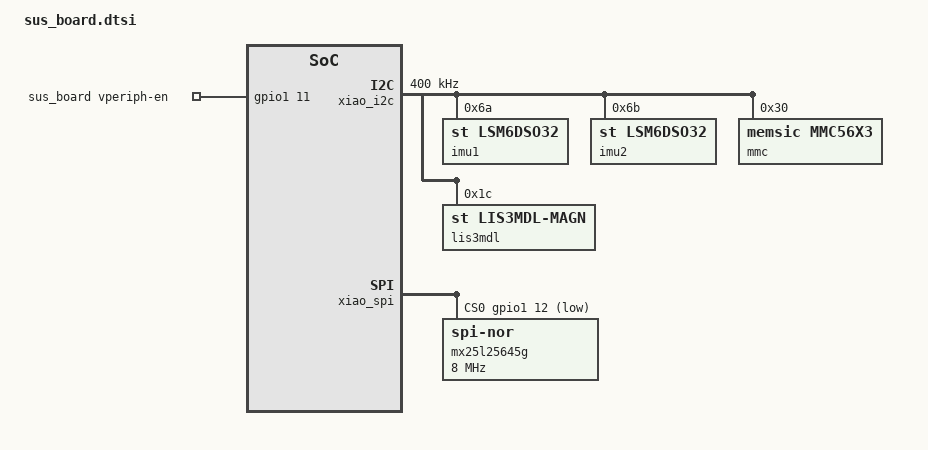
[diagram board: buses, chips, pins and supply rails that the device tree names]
/ {
	sus_board: sus-board {
		compatible = "zephyr,user";

		/* XIAO D6 = nRF P1.11. Use <&gpio0 29 GPIO_ACTIVE_HIGH> for D3. */
		vperiph-en-gpios = <&gpio1 11 GPIO_ACTIVE_HIGH>;

	};

	aliases {
		imu1 = &imu1;
		imu2 = &imu2;
		mmc = &mmc;
		lis3mdl = &lis3mdl;
	};
};

&xiao_i2c {
	status = "okay";
	clock-frequency = <I2C_BITRATE_FAST>;

	/*
	 * LSM6DSOX uses the LSM6DSO driver for its common accelerometer,
	 * gyroscope, and temperature register set.
	 */
	imu1: lsm6dso32@6a {
		compatible = "st,lsm6dso32";
		reg = <0x6a>;
		accel-range = <1>; /* +/-32 g on LSM6DSO32 */
		accel-odr = <5>;   /* 208 Hz */
		gyro-range = <6>;  /* +/-2000 dps */
		gyro-odr = <5>;    /* 208 Hz */
		status = "okay";
	};

	imu2: lsm6dso32@6b {
		compatible = "st,lsm6dso32";
		reg = <0x6b>;
		accel-range = <1>; /* +/-32 g on LSM6DSO32 */
		accel-odr = <5>;   /* 208 Hz */
		gyro-range = <6>;  /* +/-2000 dps */
		gyro-odr = <5>;    /* 208 Hz */
		status = "okay";
	};

	mmc: magnetometer@30 {
		compatible = "memsic,mmc56x3";
		reg = <0x30>;
		magn-odr = <100>;
		bandwidth-selection-bits-0;
		auto-self-reset;
		status = "okay";
	};

	lis3mdl: magnetometer@1c {
		compatible = "st,lis3mdl-magn";
		reg = <0x1c>;
		status = "okay";
	};
};

&xiao_spi {
	status = "okay";
	cs-gpios = <&gpio1 12 GPIO_ACTIVE_LOW>;

	mx25l25645g: flash@0 {
		compatible = "jedec,spi-nor";
		status = "okay";
		reg = <0>;
		spi-max-frequency = <8000000>;
		spi-cpol;
		spi-cpha;
		jedec-id = [c2 20 19];
		size = <268435456>;
		has-dpd;
		t-enter-dpd = <10000>;
		t-exit-dpd = <30000>;
	};
};

/*
 * The stock XIAO board definition maps UART0 to D6/D7. This board uses those
 * pins for board functions, while the console runs over USB CDC.
 */
&uart0 {
	status = "disabled";
};
